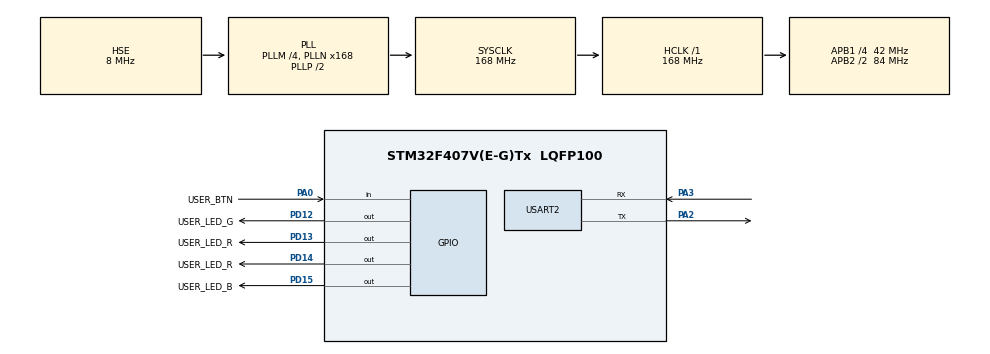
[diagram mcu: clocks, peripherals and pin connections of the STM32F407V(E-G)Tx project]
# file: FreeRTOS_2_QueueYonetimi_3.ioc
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FREERTOS.INCLUDE_eTaskGetState=1
FREERTOS.Tasks01=SenderTask1,0,128,Sender1Function,Default,NULL,Dynamic,NULL,NULL;ReceiverTask,1,128,ReceiveFunction,Default,NULL,Dynamic,NULL,NULL;SenderTask2,0,128,Sender2Function,Default,NULL,Dynamic,NULL,NULL
Mcu.Family=STM32F4
Mcu.Name=STM32F407V(E-G)Tx
Mcu.Package=LQFP100
NVIC.PriorityGroup=NVIC_PRIORITYGROUP_4
NVIC.TIM1_UP_TIM10_IRQn=true\:0\:0\:false\:false\:true\:false\:false\:true
NVIC.TimeBase=TIM1_UP_TIM10_IRQn
NVIC.TimeBaseIP=TIM1
PA0-WKUP.GPIO_Label=USER_BTN
PA0-WKUP.Signal=GPIO_Input
PA2.Mode=Asynchronous
PA2.Signal=USART2_TX
PA3.Mode=Asynchronous
PA3.Signal=USART2_RX
PD12.GPIO_Label=USER_LED_G
PD12.Signal=GPIO_Output
PD13.GPIO_Label=USER_LED_R
PD13.Signal=GPIO_Output
PD14.GPIO_Label=USER_LED_R
PD14.Signal=GPIO_Output
PD15.GPIO_Label=USER_LED_B
PD15.Signal=GPIO_Output
PH0-OSC_IN.Mode=HSE-External-Oscillator
PH0-OSC_IN.Signal=RCC_OSC_IN
PH1-OSC_OUT.Mode=HSE-External-Oscillator
PH1-OSC_OUT.Signal=RCC_OSC_OUT
ProjectManager.HeapSize=0x200
ProjectManager.StackSize=0x400
ProjectManager.TargetToolchain=STM32CubeIDE
RCC.48MHZClocksFreq_Value=84000000
RCC.AHBFreq_Value=168000000
RCC.APB1CLKDivider=RCC_HCLK_DIV4
RCC.APB1Freq_Value=42000000
RCC.APB1TimFreq_Value=84000000
RCC.APB2CLKDivider=RCC_HCLK_DIV2
RCC.APB2Freq_Value=84000000
RCC.APB2TimFreq_Value=168000000
RCC.CortexFreq_Value=168000000
RCC.HCLKFreq_Value=168000000
RCC.HSE_VALUE=8000000
RCC.HSI_VALUE=16000000
RCC.LSE_VALUE=32768
RCC.PLLM=4
RCC.PLLN=168
RCC.PLLSourceVirtual=RCC_PLLSOURCE_HSE
RCC.SYSCLKFreq_VALUE=168000000
RCC.SYSCLKSource=RCC_SYSCLKSOURCE_PLLCLK
RCC.VCOOutputFreq_Value=336000000
USART2.VirtualMode=VM_ASYNC
VP_FREERTOS_VS_CMSIS_V1.Mode=CMSIS_V1
VP_SYS_VS_tim1.Mode=TIM1
board=custom

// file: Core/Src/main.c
/* USER CODE BEGIN Header */
/**
  ******************************************************************************
  * @file           : main.c
  * @brief          : Main program body
  ******************************************************************************
  * @attention
  *
  * <h2><center>&copy; Copyright (c) 2020 STMicroelectronics.
  * All rights reserved.</center></h2>
  *
  * This software component is licensed by ST under BSD 3-Clause license,
  * the "License"; You may not use this file except in compliance with the
  * License. You may obtain a copy of the License at:
  *                        opensource.org/licenses/BSD-3-Clause
  *
  ******************************************************************************
  */
/* USER CODE END Header */
#include "main.h"
#include "cmsis_os.h"

/* USER CODE BEGIN Includes */
#include "string.h"
#include "stdio.h"
/* USER CODE END Includes */

UART_HandleTypeDef huart2;

osThreadId SenderTask1Handle;
osThreadId ReceiverTaskHandle;
osThreadId SenderTask2Handle;
/* USER CODE BEGIN PV */
QueueHandle_t xQueue1 = NULL, xQueue2 = NULL;
QueueSetHandle_t xQueueSet = NULL;
/* USER CODE END PV */

void SystemClock_Config(void);
static void MX_GPIO_Init(void);
static void MX_USART2_UART_Init(void);
void Sender1Function(void const * argument);
void ReceiveFunction(void const * argument);
void Sender2Function(void const * argument);

/* USER CODE BEGIN PFP */
void UartPrint(char* message);
/* USER CODE END PFP */

int main(void)
{

  /* MCU Configuration--------------------------------------------------------*/

  /* Reset of all peripherals, Initializes the Flash interface and the Systick. */
  HAL_Init();

  /* Configure the system clock */
  SystemClock_Config();

  /* Initialize all configured peripherals */
  MX_GPIO_Init();
  MX_USART2_UART_Init();

  /* USER CODE BEGIN RTOS_QUEUES */

  xQueue1 = xQueueCreate( 1, sizeof( char * ) );
  xQueue2 = xQueueCreate( 1, sizeof( char * ) );

  // Alttaki 3 fonksiyonun kullanilmasi icin FreeRTOSConfig.h icerisinde configUSE_QUEUE_SETS 1 olarak ayarlanmalidir.
  xQueueSet = xQueueCreateSet( 1 * 2 );

  xQueueAddToSet( xQueue1, xQueueSet );
  xQueueAddToSet( xQueue2, xQueueSet );

  /* add queues, ... */
  /* USER CODE END RTOS_QUEUES */

  /* Create the thread(s) */
  /* definition and creation of SenderTask1 */
  osThreadDef(SenderTask1, Sender1Function, osPriorityNormal, 0, 128);
  SenderTask1Handle = osThreadCreate(osThread(SenderTask1), NULL);

  /* definition and creation of ReceiverTask */
  osThreadDef(ReceiverTask, ReceiveFunction, osPriorityAboveNormal, 0, 128);
  ReceiverTaskHandle = osThreadCreate(osThread(ReceiverTask), NULL);

  /* definition and creation of SenderTask2 */
  osThreadDef(SenderTask2, Sender2Function, osPriorityNormal, 0, 128);
  SenderTask2Handle = osThreadCreate(osThread(SenderTask2), NULL);

  /* Start scheduler */
  osKernelStart();

  /* We should never get here as control is now taken by the scheduler */
  /* Infinite loop */
  while (1)
  {

  }
}

void SystemClock_Config(void)
{
  RCC_OscInitTypeDef RCC_OscInitStruct = {0};
  RCC_ClkInitTypeDef RCC_ClkInitStruct = {0};

  /** Configure the main internal regulator output voltage
  */
  __HAL_RCC_PWR_CLK_ENABLE();
  __HAL_PWR_VOLTAGESCALING_CONFIG(PWR_REGULATOR_VOLTAGE_SCALE1);
  /** Initializes the RCC Oscillators according to the specified parameters
  * in the RCC_OscInitTypeDef structure.
  */
  RCC_OscInitStruct.OscillatorType = RCC_OSCILLATORTYPE_HSE;
  RCC_OscInitStruct.HSEState = RCC_HSE_ON;
  RCC_OscInitStruct.PLL.PLLState = RCC_PLL_ON;
  RCC_OscInitStruct.PLL.PLLSource = RCC_PLLSOURCE_HSE;
  RCC_OscInitStruct.PLL.PLLM = 4;
  RCC_OscInitStruct.PLL.PLLN = 168;
  RCC_OscInitStruct.PLL.PLLP = RCC_PLLP_DIV2;
  RCC_OscInitStruct.PLL.PLLQ = 4;
  if (HAL_RCC_OscConfig(&RCC_OscInitStruct) != HAL_OK)
  {
    Error_Handler();
  }
  /** Initializes the CPU, AHB and APB buses clocks
  */
  RCC_ClkInitStruct.ClockType = RCC_CLOCKTYPE_HCLK|RCC_CLOCKTYPE_SYSCLK
                              |RCC_CLOCKTYPE_PCLK1|RCC_CLOCKTYPE_PCLK2;
  RCC_ClkInitStruct.SYSCLKSource = RCC_SYSCLKSOURCE_PLLCLK;
  RCC_ClkInitStruct.AHBCLKDivider = RCC_SYSCLK_DIV1;
  RCC_ClkInitStruct.APB1CLKDivider = RCC_HCLK_DIV4;
  RCC_ClkInitStruct.APB2CLKDivider = RCC_HCLK_DIV2;

  if (HAL_RCC_ClockConfig(&RCC_ClkInitStruct, FLASH_LATENCY_5) != HAL_OK)
  {
    Error_Handler();
  }
}

static void MX_USART2_UART_Init(void)
{

  huart2.Instance = USART2;
  huart2.Init.BaudRate = 115200;
  huart2.Init.WordLength = UART_WORDLENGTH_8B;
  huart2.Init.StopBits = UART_STOPBITS_1;
  huart2.Init.Parity = UART_PARITY_NONE;
  huart2.Init.Mode = UART_MODE_TX_RX;
  huart2.Init.HwFlowCtl = UART_HWCONTROL_NONE;
  huart2.Init.OverSampling = UART_OVERSAMPLING_16;
  if (HAL_UART_Init(&huart2) != HAL_OK)
  {
    Error_Handler();
  }

}

static void MX_GPIO_Init(void)
{
  GPIO_InitTypeDef GPIO_InitStruct = {0};

  /* GPIO Ports Clock Enable */
  __HAL_RCC_GPIOH_CLK_ENABLE();
  __HAL_RCC_GPIOA_CLK_ENABLE();
  __HAL_RCC_GPIOD_CLK_ENABLE();

  /*Configure GPIO pin Output Level */
  HAL_GPIO_WritePin(GPIOD, USER_LED_G_Pin|USER_LED_R_Pin|USER_LED_RD14_Pin|USER_LED_B_Pin, GPIO_PIN_RESET);

  /*Configure GPIO pin : USER_BTN_Pin */
  GPIO_InitStruct.Pin = USER_BTN_Pin;
  GPIO_InitStruct.Mode = GPIO_MODE_INPUT;
  GPIO_InitStruct.Pull = GPIO_NOPULL;
  HAL_GPIO_Init(USER_BTN_GPIO_Port, &GPIO_InitStruct);

  /*Configure GPIO pins : USER_LED_G_Pin USER_LED_R_Pin USER_LED_RD14_Pin USER_LED_B_Pin */
  GPIO_InitStruct.Pin = USER_LED_G_Pin|USER_LED_R_Pin|USER_LED_RD14_Pin|USER_LED_B_Pin;
  GPIO_InitStruct.Mode = GPIO_MODE_OUTPUT_PP;
  GPIO_InitStruct.Pull = GPIO_NOPULL;
  GPIO_InitStruct.Speed = GPIO_SPEED_FREQ_LOW;
  HAL_GPIO_Init(GPIOD, &GPIO_InitStruct);

}

/* USER CODE BEGIN 4 */

void UartPrint(char* message)
{
	HAL_UART_Transmit(&huart2, (uint8_t*)message, strlen(message), 20);
}
/* USER CODE END 4 */

void Sender1Function(void const * argument)
{
  /* USER CODE BEGIN 5 */

	const TickType_t xBlockTime = pdMS_TO_TICKS( 1000 );
	const char * const pcMessage = "Message from SenderTask1\r\n";

  /* Infinite loop */
  for(;;)
  {
	  vTaskDelay( xBlockTime );
	  xQueueSend( xQueue1, &pcMessage, 0 );
  }
  /* USER CODE END 5 */
}

void ReceiveFunction(void const * argument)
{
  /* USER CODE BEGIN ReceiveFunction */

	// QueueHandle_t xQueueThatContainsData;

	QueueSetMemberHandle_t xQueueSetMember;
	char *pcReceivedString;

  /* Infinite loop */
  for(;;)
  {
	  // QueueSet donusunun Timeout suresi sonsuz olarak ayarlanmistir. Bu sebeple hicbir zaman NULL degeri donmeyecek.
	  // Fakat Timeout suresini kisaltirsak 500ms icerisinde veri gelmezse xQueueSelectFromSet() fonk. donusu NULL olacaktir..
//	  xQueueSetMember =  xQueueSelectFromSet( xQueueSet, pdMS_TO_TICKS(500) );

	  xQueueSetMember =  xQueueSelectFromSet( xQueueSet, portMAX_DELAY );

	  // QueueSet her zaman kuyruk icermeyebilir.Semaphore yapilarini da icerebilir. Bu yuzden bu sekilde bir kullanim daha dogrudur.
	  if(xQueueSetMember == NULL)
	  {
		  pcReceivedString = "NULL\r\n";
	  }
	  else if(xQueueSetMember == (QueueSetMemberHandle_t) xQueue1)
	  {
		  xQueueReceive( xQueue1, &pcReceivedString, 0 );
	  }
	  else if(xQueueSetMember == (QueueSetMemberHandle_t) xQueue2 )
	  {
		  xQueueReceive( xQueue2, &pcReceivedString, 0 );
	  }

	  UartPrint( pcReceivedString );

  }

  /* USER CODE END ReceiveFunction */
}

void Sender2Function(void const * argument)
{
  /* USER CODE BEGIN Sender2Function */
	const TickType_t xBlockTime = pdMS_TO_TICKS( 2000 );
	const char * const pcMessage = "Message from SenderTask2\r\n";

  /* Infinite loop */
  for(;;)
  {
	  vTaskDelay( xBlockTime );
	  xQueueSend( xQueue2, &pcMessage, 0 );

  }
  /* USER CODE END Sender2Function */
}

void HAL_TIM_PeriodElapsedCallback(TIM_HandleTypeDef *htim)
{
  if (htim->Instance == TIM1) {
    HAL_IncTick();
  }
}

void Error_Handler(void)
{
}

/************************ (C) COPYRIGHT STMicroelectronics *****END OF FILE****/
